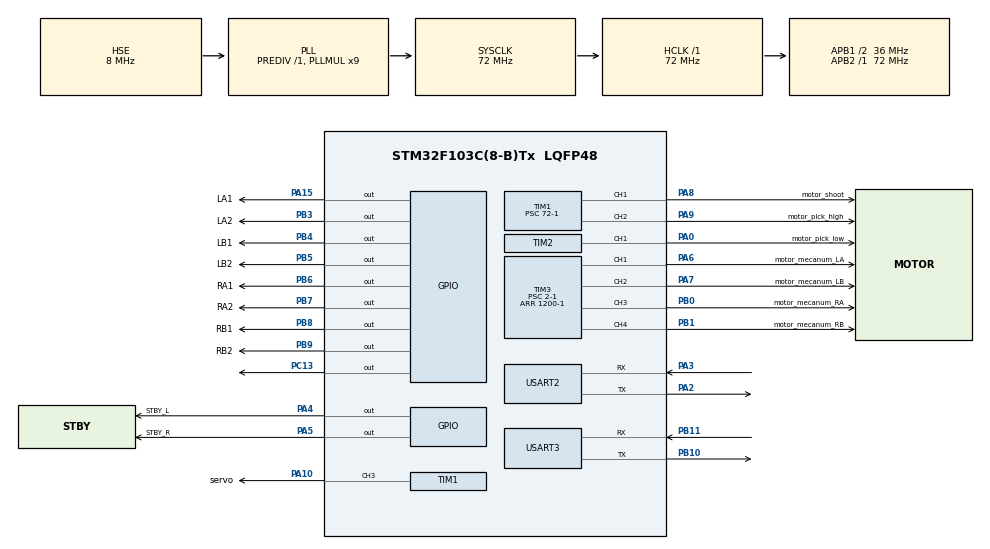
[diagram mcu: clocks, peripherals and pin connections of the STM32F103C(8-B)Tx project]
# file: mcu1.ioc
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Dma.Request0=USART3_RX
Dma.Request1=USART3_TX
Dma.Request2=USART2_RX
Dma.Request3=USART2_TX
Dma.USART2_RX.2.Direction=DMA_PERIPH_TO_MEMORY
Dma.USART2_RX.2.Instance=DMA1_Channel6
Dma.USART2_RX.2.MemDataAlignment=DMA_MDATAALIGN_BYTE
Dma.USART2_RX.2.MemInc=DMA_MINC_ENABLE
Dma.USART2_RX.2.Mode=DMA_NORMAL
Dma.USART2_RX.2.PeriphDataAlignment=DMA_PDATAALIGN_BYTE
Dma.USART2_RX.2.PeriphInc=DMA_PINC_DISABLE
Dma.USART2_RX.2.Priority=DMA_PRIORITY_LOW
Dma.USART2_TX.3.Direction=DMA_MEMORY_TO_PERIPH
Dma.USART2_TX.3.Instance=DMA1_Channel7
Dma.USART2_TX.3.MemDataAlignment=DMA_MDATAALIGN_BYTE
Dma.USART2_TX.3.MemInc=DMA_MINC_ENABLE
Dma.USART2_TX.3.Mode=DMA_NORMAL
Dma.USART2_TX.3.PeriphDataAlignment=DMA_PDATAALIGN_BYTE
Dma.USART2_TX.3.PeriphInc=DMA_PINC_DISABLE
Dma.USART2_TX.3.Priority=DMA_PRIORITY_LOW
Dma.USART3_RX.0.Direction=DMA_PERIPH_TO_MEMORY
Dma.USART3_RX.0.Instance=DMA1_Channel3
Dma.USART3_RX.0.MemDataAlignment=DMA_MDATAALIGN_BYTE
Dma.USART3_RX.0.MemInc=DMA_MINC_ENABLE
Dma.USART3_RX.0.Mode=DMA_NORMAL
Dma.USART3_RX.0.PeriphDataAlignment=DMA_PDATAALIGN_BYTE
Dma.USART3_RX.0.PeriphInc=DMA_PINC_DISABLE
Dma.USART3_RX.0.Priority=DMA_PRIORITY_LOW
Dma.USART3_TX.1.Direction=DMA_MEMORY_TO_PERIPH
Dma.USART3_TX.1.Instance=DMA1_Channel2
Dma.USART3_TX.1.MemDataAlignment=DMA_MDATAALIGN_BYTE
Dma.USART3_TX.1.MemInc=DMA_MINC_ENABLE
Dma.USART3_TX.1.Mode=DMA_NORMAL
Dma.USART3_TX.1.PeriphDataAlignment=DMA_PDATAALIGN_BYTE
Dma.USART3_TX.1.PeriphInc=DMA_PINC_DISABLE
Dma.USART3_TX.1.Priority=DMA_PRIORITY_LOW
Mcu.Family=STM32F1
Mcu.Name=STM32F103C(8-B)Tx
Mcu.Package=LQFP48
NVIC.DMA1_Channel2_IRQn=true\:0\:0\:true\:false\:true\:false\:true\:true
NVIC.DMA1_Channel3_IRQn=true\:0\:0\:true\:false\:true\:false\:true\:true
NVIC.DMA1_Channel6_IRQn=true\:0\:0\:true\:false\:true\:false\:true\:true
NVIC.DMA1_Channel7_IRQn=true\:0\:0\:true\:false\:true\:false\:true\:true
NVIC.PriorityGroup=NVIC_PRIORITYGROUP_4
PA0-WKUP.GPIO_Label=motor_pick_low
PA0-WKUP.Signal=S_TIM2_CH1_ETR
PA10.GPIO_Label=servo
PA10.Signal=S_TIM1_CH3
PA13.Mode=Serial_Wire
PA13.Signal=SYS_JTMS-SWDIO
PA14.Mode=Serial_Wire
PA14.Signal=SYS_JTCK-SWCLK
PA15.GPIO_Label=LA1
PA15.Signal=GPIO_Output
PA2.Mode=Asynchronous
PA2.Signal=USART2_TX
PA3.Mode=Asynchronous
PA3.Signal=USART2_RX
PA4.GPIO_Label=STBY_L
PA4.PinState=GPIO_PIN_SET
PA4.Signal=GPIO_Output
PA5.GPIO_Label=STBY_R
PA5.PinState=GPIO_PIN_SET
PA5.Signal=GPIO_Output
PA6.GPIO_Label=motor_mecanum_LA
PA6.Signal=S_TIM3_CH1
PA7.GPIO_Label=motor_mecanum_LB
PA7.Signal=S_TIM3_CH2
PA8.GPIO_Label=motor_shoot
PA8.Signal=S_TIM1_CH1
PA9.GPIO_Label=motor_pick_high
PA9.Signal=S_TIM1_CH2
PB0.GPIO_Label=motor_mecanum_RA
PB0.Signal=S_TIM3_CH3
PB1.GPIO_Label=motor_mecanum_RB
PB1.Signal=S_TIM3_CH4
PB10.Mode=Asynchronous
PB10.Signal=USART3_TX
PB11.Mode=Asynchronous
PB11.Signal=USART3_RX
PB3.GPIO_Label=LA2
PB3.Signal=GPIO_Output
PB4.GPIO_Label=LB1
PB4.Signal=GPIO_Output
PB5.GPIO_Label=LB2
PB5.Signal=GPIO_Output
PB6.GPIO_Label=RA1
PB6.Signal=GPIO_Output
PB7.GPIO_Label=RA2
PB7.Signal=GPIO_Output
PB8.GPIO_Label=RB1
PB8.Signal=GPIO_Output
PB9.GPIO_Label=RB2
PB9.Signal=GPIO_Output
PC13-TAMPER-RTC.PinState=GPIO_PIN_RESET
PC13-TAMPER-RTC.Signal=GPIO_Output
PD0-OSC_IN.Mode=HSE-External-Oscillator
PD0-OSC_IN.Signal=RCC_OSC_IN
PD1-OSC_OUT.Mode=HSE-External-Oscillator
PD1-OSC_OUT.Signal=RCC_OSC_OUT
ProjectManager.HeapSize=0x200
ProjectManager.StackSize=0x400
ProjectManager.TargetToolchain=MDK-ARM V5.32
RCC.AHBFreq_Value=72000000
RCC.APB1CLKDivider=RCC_HCLK_DIV2
RCC.APB1Freq_Value=36000000
RCC.APB1TimFreq_Value=72000000
RCC.APB2Freq_Value=72000000
RCC.APB2TimFreq_Value=72000000
RCC.HCLKFreq_Value=72000000
RCC.PLLMUL=RCC_PLL_MUL9
RCC.PLLSourceVirtual=RCC_PLLSOURCE_HSE
RCC.SYSCLKFreq_VALUE=72000000
RCC.SYSCLKSource=RCC_SYSCLKSOURCE_PLLCLK
RCC.USBFreq_Value=72000000
SH.S_TIM1_CH1.0=TIM1_CH1,PWM Generation1 CH1
SH.S_TIM1_CH2.0=TIM1_CH2,PWM Generation2 CH2
SH.S_TIM1_CH3.0=TIM1_CH3,PWM Generation3 CH3
SH.S_TIM2_CH1_ETR.0=TIM2_CH1,PWM Generation1 CH1
SH.S_TIM3_CH1.0=TIM3_CH1,PWM Generation1 CH1
SH.S_TIM3_CH2.0=TIM3_CH2,PWM Generation2 CH2
SH.S_TIM3_CH3.0=TIM3_CH3,PWM Generation3 CH3
SH.S_TIM3_CH4.0=TIM3_CH4,PWM Generation4 CH4
TIM1.Channel-PWM\ Generation1\ CH1=TIM_CHANNEL_1
TIM1.Channel-PWM\ Generation2\ CH2=TIM_CHANNEL_2
TIM1.Channel-PWM\ Generation3\ CH3=TIM_CHANNEL_3
TIM1.Period=20000-1
TIM1.Prescaler=72-1
TIM2.Channel-PWM\ Generation1\ CH1=TIM_CHANNEL_1
TIM2.Channel-PWM\ Generation2\ CH2=TIM_CHANNEL_2
TIM2.Period=20000-1
TIM2.Prescaler=72-1
TIM3.Channel-PWM\ Generation1\ CH1=TIM_CHANNEL_1
TIM3.Channel-PWM\ Generation2\ CH2=TIM_CHANNEL_2
TIM3.Channel-PWM\ Generation3\ CH3=TIM_CHANNEL_3
TIM3.Channel-PWM\ Generation4\ CH4=TIM_CHANNEL_4
TIM3.Period=1200-1
TIM3.Prescaler=2-1
USART2.VirtualMode=VM_ASYNC
USART3.VirtualMode=VM_ASYNC
board=custom

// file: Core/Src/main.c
/* USER CODE BEGIN Header */
/**
  ******************************************************************************
  * @file           : main.c
  * @brief          : Main program body
  ******************************************************************************
  * @attention
  *
  * Copyright (c) 2025 STMicroelectronics.
  * All rights reserved.
  *
  * This software is licensed under terms that can be found in the LICENSE file
  * in the root directory of this software component.
  * If no LICENSE file comes with this software, it is provided AS-IS.
  *
  ******************************************************************************
  */
/* USER CODE END Header */
#include "main.h"
#include "dma.h"
#include "tim.h"
#include "usart.h"
#include "gpio.h"

/* USER CODE BEGIN Includes */
#include "remote_control.h"

#include "motor_shoot.h"
#include "motor_pick.h"
#include "servo.h"

#include "uart_main_tx.h"
#include "uart_main_rx.h"

#include "pid.h"
#include "move.h"

#include <string.h>
/* USER CODE END Includes */

/* USER CODE BEGIN PV */
RC_Type rc_data;
uint8_t rc_buff[18]; //遥控器接收缓冲区

uint32_t last_directionSend_time = 0;//10ms计数器
/* USER CODE END PV */

void SystemClock_Config(void);

int main(void)
{

  /* MCU Configuration--------------------------------------------------------*/

  /* Reset of all peripherals, Initializes the Flash interface and the Systick. */
  HAL_Init();

  /* Configure the system clock */
  SystemClock_Config();

  /* Initialize all configured peripherals */
  MX_GPIO_Init();
  MX_DMA_Init();
  MX_TIM1_Init();
  MX_USART2_UART_Init();
  MX_USART3_UART_Init();
  MX_TIM3_Init();
  MX_TIM2_Init();
  /* USER CODE BEGIN 2 */
  Motor_Shoot_Control_Init(); //Initialize motor_shoot control
  Motor_Pick_Control_Init(); //Initialize motor_pick control
  Servo_Init(); //Initialize servo control

  Motor_Mecanum_Init(); //Initialize mecanum control

  UART_Main_RxInit(); // //Initialize UART3 for main rx

  HAL_UART_Receive_DMA(&huart2, rc_buff,18); //启动DMA接收遥控器数据

  /* USER CODE END 2 */

  /* Infinite loop */
  /* USER CODE BEGIN WHILE */
  while (1)
  {
    Motor_Shoot_Control_Update(&rc_data); //Update motor_shoot speed based on rc_data
    Motor_Pick_Control_Update(&rc_data); //Update motor_pick speed based on rc_data
    Servo_Control_Update(&rc_data); //Update servo angle based on rc_data

    Move_Update(&rc_data); //Update move control

    HAL_Delay(1);

    uint32_t now = HAL_GetTick();
    if(now - last_directionSend_time >= 10)
    {
      last_directionSend_time = now;
      UART_Main_SendDirection();    // 10ms 发送方向
    }
    /* USER CODE END WHILE */

  }
}

void SystemClock_Config(void)
{
  RCC_OscInitTypeDef RCC_OscInitStruct = {0};
  RCC_ClkInitTypeDef RCC_ClkInitStruct = {0};

  /** Initializes the RCC Oscillators according to the specified parameters
  * in the RCC_OscInitTypeDef structure.
  */
  RCC_OscInitStruct.OscillatorType = RCC_OSCILLATORTYPE_HSE;
  RCC_OscInitStruct.HSEState = RCC_HSE_ON;
  RCC_OscInitStruct.HSEPredivValue = RCC_HSE_PREDIV_DIV1;
  RCC_OscInitStruct.HSIState = RCC_HSI_ON;
  RCC_OscInitStruct.PLL.PLLState = RCC_PLL_ON;
  RCC_OscInitStruct.PLL.PLLSource = RCC_PLLSOURCE_HSE;
  RCC_OscInitStruct.PLL.PLLMUL = RCC_PLL_MUL9;
  if (HAL_RCC_OscConfig(&RCC_OscInitStruct) != HAL_OK)
  {
    Error_Handler();
  }

  /** Initializes the CPU, AHB and APB buses clocks
  */
  RCC_ClkInitStruct.ClockType = RCC_CLOCKTYPE_HCLK|RCC_CLOCKTYPE_SYSCLK
                              |RCC_CLOCKTYPE_PCLK1|RCC_CLOCKTYPE_PCLK2;
  RCC_ClkInitStruct.SYSCLKSource = RCC_SYSCLKSOURCE_PLLCLK;
  RCC_ClkInitStruct.AHBCLKDivider = RCC_SYSCLK_DIV1;
  RCC_ClkInitStruct.APB1CLKDivider = RCC_HCLK_DIV2;
  RCC_ClkInitStruct.APB2CLKDivider = RCC_HCLK_DIV1;

  if (HAL_RCC_ClockConfig(&RCC_ClkInitStruct, FLASH_LATENCY_2) != HAL_OK)
  {
    Error_Handler();
  }
}

/* USER CODE BEGIN 4 */
void HAL_UART_RxCpltCallback(UART_HandleTypeDef *huart)
{
    if (huart->Instance == USART2) {
        // 解析遥控器数据
        Callback_RC_Handle(&rc_data, rc_buff);

        // 重新启动接收
        HAL_UART_Receive_DMA(&huart2, rc_buff, 18);
    }
    if (huart->Instance == USART3){
      UART_Main_RxPrase();
      HAL_UART_Receive_DMA(&huart3, main_rxbuf, 11);
    }
}
/* USER CODE END 4 */

void Error_Handler(void)
{
  __disable_irq();
  while (1)
  {
  }
}
